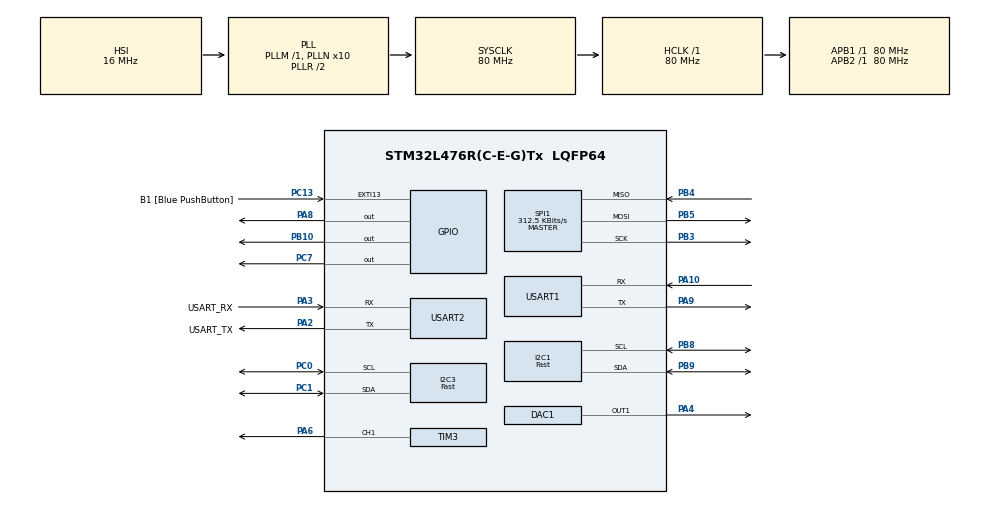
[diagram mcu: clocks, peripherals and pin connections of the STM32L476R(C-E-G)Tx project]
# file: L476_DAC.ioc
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DAC1.DAC_Channel-DAC_OUT2_Int=DAC_CHANNEL_2
DAC1.DAC_HoldTime-DAC_OUT1=700
DAC1.DAC_RefreshTime-DAC_OUT1=5
DAC1.DAC_SampleAndHold-DAC_OUT1=DAC_SAMPLEANDHOLD_ENABLE
DAC1.DAC_SampleTime-DAC_OUT1=20
DAC1.DAC_Trigger-DAC_OUT1=DAC_TRIGGER_T2_TRGO
Dma.DAC_CH1.0.Direction=DMA_MEMORY_TO_PERIPH
Dma.DAC_CH1.0.Instance=DMA1_Channel3
Dma.DAC_CH1.0.MemDataAlignment=DMA_MDATAALIGN_WORD
Dma.DAC_CH1.0.MemInc=DMA_MINC_ENABLE
Dma.DAC_CH1.0.Mode=DMA_CIRCULAR
Dma.DAC_CH1.0.PeriphDataAlignment=DMA_PDATAALIGN_WORD
Dma.DAC_CH1.0.PeriphInc=DMA_PINC_DISABLE
Dma.DAC_CH1.0.Priority=DMA_PRIORITY_HIGH
Dma.Request0=DAC_CH1
I2C1.I2C_Speed_Mode=I2C_Fast
I2C1.Timing=0x00702991
I2C3.I2C_Speed_Mode=I2C_Fast
I2C3.Timing=0x00702991
Mcu.Family=STM32L4
Mcu.Name=STM32L476R(C-E-G)Tx
Mcu.Package=LQFP64
NVIC.DMA1_Channel3_IRQn=true\:0\:0\:false\:false\:true\:false\:true\:true
NVIC.PriorityGroup=NVIC_PRIORITYGROUP_4
NVIC.TIM2_IRQn=true\:0\:0\:false\:false\:true\:true\:true\:true
NVIC.TIM6_DAC_IRQn=true\:0\:0\:false\:false\:true\:true\:true\:true
NVIC.USART1_IRQn=true\:0\:0\:false\:false\:true\:true\:true\:true
NVIC.USART2_IRQn=true\:0\:0\:false\:false\:true\:true\:true\:true
PA10.Mode=Asynchronous
PA10.Signal=USART1_RX
PA13\ (JTMS-SWDIO).GPIO_Label=TMS
PA13\ (JTMS-SWDIO).Mode=Serial_Wire
PA13\ (JTMS-SWDIO).Signal=SYS_JTMS-SWDIO
PA14\ (JTCK-SWCLK).GPIO_Label=TCK
PA14\ (JTCK-SWCLK).Mode=Serial_Wire
PA14\ (JTCK-SWCLK).Signal=SYS_JTCK-SWCLK
PA2.GPIO_Label=USART_TX
PA2.GPIO_Mode=GPIO_MODE_AF_PP
PA2.GPIO_PuPd=GPIO_NOPULL
PA2.GPIO_Speed=GPIO_SPEED_FREQ_VERY_HIGH
PA2.Mode=Asynchronous
PA2.Signal=USART2_TX
PA3.GPIO_Label=USART_RX
PA3.GPIO_Mode=GPIO_MODE_AF_PP
PA3.GPIO_PuPd=GPIO_NOPULL
PA3.GPIO_Speed=GPIO_SPEED_FREQ_VERY_HIGH
PA3.Mode=Asynchronous
PA3.Signal=USART2_RX
PA4.Signal=COMP_DAC11_group
PA6.Signal=S_TIM3_CH1
PA8.Signal=GPIO_Output
PA9.Mode=Asynchronous
PA9.Signal=USART1_TX
PB10.PinState=GPIO_PIN_SET
PB10.Signal=GPIO_Output
PB14.GPIO_Pu=GPIO_PULLUP
PB14.Signal=I2C2_SDA
PB3\ (JTDO-TRACESWO).Mode=Full_Duplex_Master
PB3\ (JTDO-TRACESWO).Signal=SPI1_SCK
PB4\ (NJTRST).Mode=Full_Duplex_Master
PB4\ (NJTRST).Signal=SPI1_MISO
PB5.Mode=Full_Duplex_Master
PB5.Signal=SPI1_MOSI
PB8.GPIO_Pu=GPIO_PULLUP
PB8.Mode=I2C
PB8.Signal=I2C1_SCL
PB9.GPIO_Pu=GPIO_PULLUP
PB9.Mode=I2C
PB9.Signal=I2C1_SDA
PC0.GPIO_Pu=GPIO_PULLUP
PC0.Mode=I2C
PC0.Signal=I2C3_SCL
PC1.GPIO_Pu=GPIO_PULLUP
PC1.Mode=I2C
PC1.Signal=I2C3_SDA
PC13.GPIO_Label=B1 [Blue PushButton]
PC13.GPIO_ModeDefaultEXTI=GPIO_MODE_IT_FALLING
PC13.GPIO_PuPd=GPIO_NOPULL
PC13.Signal=GPXTI13
PC14-OSC32_IN\ (PC14).Mode=LSE-External-Oscillator
PC14-OSC32_IN\ (PC14).Signal=RCC_OSC32_IN
PC15-OSC32_OUT\ (PC15).Mode=LSE-External-Oscillator
PC15-OSC32_OUT\ (PC15).Signal=RCC_OSC32_OUT
PC7.Signal=GPIO_Output
PH0-OSC_IN\ (PH0).Signal=RCC_OSC_IN
PH1-OSC_OUT\ (PH1).Signal=RCC_OSC_OUT
ProjectManager.HeapSize=0x200
ProjectManager.StackSize=0x400
ProjectManager.TargetToolchain=STM32CubeIDE
RCC.ADCFreq_Value=64000000
RCC.AHBFreq_Value=80000000
RCC.APB1Freq_Value=80000000
RCC.APB1TimFreq_Value=80000000
RCC.APB2Freq_Value=80000000
RCC.APB2TimFreq_Value=80000000
RCC.CortexFreq_Value=80000000
RCC.HCLKFreq_Value=80000000
RCC.HSE_VALUE=8000000
RCC.HSI_VALUE=16000000
RCC.MSI_VALUE=4000000
RCC.PLLN=10
RCC.PLLSourceVirtual=RCC_PLLSOURCE_HSI
RCC.PREFETCH_ENABLE=1
RCC.SYSCLKFreq_VALUE=80000000
RCC.SYSCLKSource=RCC_SYSCLKSOURCE_PLLCLK
RCC.USBFreq_Value=64000000
RCC.VCOOutputFreq_Value=160000000
SH.COMP_DAC11_group.0=DAC1_OUT1,DAC_OUT1
SH.S_TIM3_CH1.0=TIM3_CH1,PWM Generation1 CH1
SPI1.BaudRatePrescaler=SPI_BAUDRATEPRESCALER_256
SPI1.CalculateBaudRate=312.5 KBits/s
SPI1.DataSize=SPI_DATASIZE_8BIT
SPI1.Direction=SPI_DIRECTION_2LINES
SPI1.Mode=SPI_MODE_MASTER
SPI1.VirtualType=VM_MASTER
TIM2.AutoReloadPreload=TIM_AUTORELOAD_PRELOAD_ENABLE
TIM2.Period=320
TIM2.Prescaler=0
TIM2.TIM_MasterOutputTrigger=TIM_TRGO_UPDATE
TIM3.AutoReloadPreload=TIM_AUTORELOAD_PRELOAD_ENABLE
TIM3.Channel-PWM\ Generation1\ CH1=TIM_CHANNEL_1
TIM3.Period=1000
TIM6.AutoReloadPreload=TIM_AUTORELOAD_PRELOAD_ENABLE
TIM6.Period=100
TIM6.Prescaler=799
USART1.VirtualMode-Asynchronous=VM_ASYNC
USART2.VirtualMode-Asynchronous=VM_ASYNC
VP_TIM2_VS_ClockSourceINT.Mode=Internal
VP_TIM3_VS_ClockSourceINT.Mode=Internal
VP_TIM6_VS_ClockSourceINT.Mode=Enable_Timer
board=NUCLEO-L476RG

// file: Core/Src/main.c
/* USER CODE BEGIN Header */
/**
  ******************************************************************************
  * @file           : main.c
  * @brief          : Main program body
  ******************************************************************************
  * @attention
  *
  * Copyright (c) 2023 STMicroelectronics.
  * All rights reserved.
  *
  * This software is licensed under terms that can be found in the LICENSE file
  * in the root directory of this software component.
  * If no LICENSE file comes with this software, it is provided AS-IS.
  *
  ******************************************************************************
  */
/* USER CODE END Header */
#include "main.h"

/* USER CODE BEGIN Includes */
#include <math.h>
#include <stdio.h>
#include <stdbool.h>
#include "wavegen.h"
/* USER CODE END Includes */

/* USER CODE BEGIN PD */

//Number of sample points in waveforms
#define NS 64
#define voltageconstant 1.225
#define STIMCHANNELORDERSIZE 30

/* USER CODE END PD */

DAC_HandleTypeDef hdac1;
DMA_HandleTypeDef hdma_dac_ch1;

I2C_HandleTypeDef hi2c1;
I2C_HandleTypeDef hi2c3;

SPI_HandleTypeDef hspi1;

TIM_HandleTypeDef htim2;
TIM_HandleTypeDef htim3;
TIM_HandleTypeDef htim6;

UART_HandleTypeDef huart1;
UART_HandleTypeDef huart2;

/* USER CODE BEGIN PV */

int pow_10[10] = {
        1, 10, 100, 1000, 10000, 100000, 1000000, 10000000, 100000000, 1000000000
    }; //powers of ten

enum WaveState {upBump = 0, shortFlat = 1, downBump = 2, longFlat = 3};
enum WaveState currentWaveState = longFlat;

const double dev = 10.0; //deviation of bell curves

// A wave duration default value: 250 us
// (1/80e6) * 64 * 312.5 = 0.00025s = 250 us
// (1/(CLK) * NS * ARR = duration) -> ARR = duration * CLK/NS
// where CLK = 80e6, NS = 64
// going below ARR = 64 may cause problems, however it is possible

//these are set into TIM2 during the DMA interrupt calls (see stm32l4xx_it.c)
uint16_t A_ARR = 312;
uint16_t B_ARR = 312;
uint16_t C_ARR = 312;
uint16_t D_ARR = 3125;

uint32_t intensityValues[8][NS]; //stores the 4 levels of intensity bell curves (8 = 4 * 2 because we store the negative parts as well)
uint16_t voltageLevels[4] = {375, 750, 1125, 1500}; //this is for generating the 4 levels of intensities
uint8_t channelLevels[16]; //for every individual channel the 4 levels of intensity can be set during runtime
uint8_t useIndividualIntensities = 1; //if this is 0, all channels have the same intensity by default
uint8_t currentIntensity = 3; //the default intensity level is 3 (voltageLevels[3] = 1500)

uint32_t Line_LUT[NS] = {1910, 1910, 1910, 1910, 1910, 1910, 1910, 1910, 1910, 1910, 1910, 1910, 1910, 1910, 1910,
		1910, 1910, 1910, 1910, 1910, 1910, 1910, 1910, 1910, 1910, 1910, 1910, 1910, 1910, 1910,
		1910, 1910, 1910, 1910, 1910, 1910, 1910, 1910, 1910, 1910, 1910, 1910, 1910, 1910, 1910,
		1910, 1910, 1910, 1910, 1910, 1910, 1910, 1910, 1910, 1910, 1910, 1910, 1910, 1910, 1910,
		1910, 1910, 1910, 1910};

//this is used for offsetting, not using this at the moment
uint32_t Line_LUT_tmp[NS] = {1910, 1910, 1910, 1910, 1910, 1910, 1910, 1910, 1910, 1910, 1910, 1910, 1910, 1910, 1910,
		1910, 1910, 1910, 1910, 1910, 1910, 1910, 1910, 1910, 1910, 1910, 1910, 1910, 1910, 1910,
		1910, 1910, 1910, 1910, 1910, 1910, 1910, 1910, 1910, 1910, 1910, 1910, 1910, 1910, 1910,
		1910, 1910, 1910, 1910, 1910, 1910, 1910, 1910, 1910, 1910, 1910, 1910, 1910, 1910, 1910,
		1910, 1910, 1910, 1910};

//UART data buffer
uint8_t Rx_data[7];

//number of waves in a burst
uint16_t maxWaveNumber = 10;
//this gets toggled by sending "ENTER" through USB
uint8_t toggleBurst = 0;
uint16_t enableBurst;

uint16_t amplitude = voltageconstant * 1500;
uint16_t offset = voltageconstant * 1550;
bool startParseInput = false;
bool enableSPITransmit = false;
bool setVoltage = false;
bool setOffset = false;

uint8_t stimMode = 0;
uint16_t channelSwitchTime = 4999;

uint16_t stimChannelOrder[STIMCHANNELORDERSIZE];
uint8_t stimChannelOrderIntensity[STIMCHANNELORDERSIZE];
uint8_t validStimChannelOrderValues = 0;
uint8_t stimChannelBurstNumber[STIMCHANNELORDERSIZE] = {0};
uint8_t stimChannelIndex = 0;
//this is in units of timeBetweenBursts * D_ARR * CLK / NS [us]
uint16_t timeBetweenBursts = 50;

uint8_t SPIdata[2] = {0b00000000, 0b00000000};

uint8_t I2Cdata[1] = {0b00000110};
uint8_t I2CdataTMP[1] = {0b00000110};
float baseIntensity = 1.0f;

uint8_t enableI2Ctransmit = 0;

/* USER CODE END PV */

void SystemClock_Config(void);
static void MX_GPIO_Init(void);
static void MX_DMA_Init(void);
static void MX_USART2_UART_Init(void);
static void MX_DAC1_Init(void);
static void MX_TIM2_Init(void);
static void MX_USART1_UART_Init(void);
static void MX_TIM3_Init(void);
static void MX_SPI1_Init(void);
static void MX_TIM6_Init(void);
static void MX_I2C3_Init(void);
static void MX_I2C1_Init(void);
/* USER CODE BEGIN PFP */

#ifdef __GNUC__
#define PUTCHAR_PROTOTYPE int __io_putchar(int ch)
#else
#define PUTCHAR_PROTOTYPE int fputc(int ch, FILE *f)
#endif

PUTCHAR_PROTOTYPE
{
  HAL_UART_Transmit(&huart2, (uint8_t *)&ch, 1, HAL_MAX_DELAY);
  return ch;
}

//void XferCpltCallback(DMA_HandleTypeDef *hdma)
//{
//	tick++;
//}

/* USER CODE END PFP */

int main(void)
{
  /* USER CODE BEGIN 1 */

	for (int i = 0; i < 4; i++)
	{
		fillWithBell(intensityValues[2*i], NS, NS / 2, dev, voltageconstant * voltageLevels[i], 1910);
		fillWithBell(intensityValues[2*i + 1], NS, NS / 2, dev, -voltageconstant * voltageLevels[i], 1910);
	}
  /* USER CODE END 1 */

  /* MCU Configuration--------------------------------------------------------*/

  /* Reset of all peripherals, Initializes the Flash interface and the Systick. */
  HAL_Init();

  /* Configure the system clock */
  SystemClock_Config();

  /* Initialize all configured peripherals */
  MX_GPIO_Init();
  MX_DMA_Init();
  MX_USART2_UART_Init();
  MX_DAC1_Init();
  MX_TIM2_Init();
  MX_USART1_UART_Init();
  MX_TIM3_Init();
  MX_SPI1_Init();
  MX_TIM6_Init();
  MX_I2C3_Init();
  MX_I2C1_Init();
  /* USER CODE BEGIN 2 */
  printf("HELLO \r\n");
  printf("WORLD \r\n");

  //this is for debug purposes
  HAL_GPIO_TogglePin(GPIOC, GPIO_PIN_0);

  HAL_UART_Receive_IT(&huart2, Rx_data, 7);
  HAL_DAC_Start_DMA(&hdac1, DAC_CHANNEL_1, (uint32_t *) Line_LUT, NS, DAC_ALIGN_12B_R);
  HAL_TIM_Base_Start_IT(&htim2);
  HAL_TIM_Base_Start_IT(&htim6);
  HAL_TIM_PWM_Start(&htim3, TIM_CHANNEL_1);

  //default PWM duty cycle: 30%
  TIM3->CCR1 = 300;

  //disable the half transfer complete interrupt for the DMA
  __HAL_DMA_DISABLE_IT(&hdma_dac_ch1, DMA_IT_HT);

  //uint8_t testData[2] = {255, 255};

  HAL_I2C_Master_Transmit(&hi2c3, 0b0000000001011110, 0b00000000, 1, 100);
  HAL_I2C_Master_Transmit(&hi2c1, 0b0000000001011110, 0b00000000, 1, 100);
  /* USER CODE END 2 */

  /* Infinite loop */
  /* USER CODE BEGIN WHILE */
  while (1)
  {
	 if (enableSPITransmit)
	 {

		 HAL_SPI_Transmit(&hspi1, SPIdata, 2, 1000);
		 HAL_GPIO_WritePin(GPIOB, GPIO_PIN_10, GPIO_PIN_RESET);
		 enableSPITransmit = false;
		 for (int i = 0; i < 20; i++)
		 {
			 i--;
			 i++;
		 }
		 HAL_GPIO_WritePin(GPIOB, GPIO_PIN_10, GPIO_PIN_SET);
		 HAL_SPI_Transmit(&hspi1, SPIdata, 2, 1000);
	 }

	 if (enableI2Ctransmit == 1)
	 {

		 enableI2Ctransmit = 0;
		 if (I2Cdata[0] > 127)
		 {
			 I2Cdata[0] = 127;
			 I2CdataTMP[0] = 127;
		 }
		 if (I2Cdata[0] < 6)
		 {
			 I2Cdata[0] = 6;
			 I2CdataTMP[0] = 6;
		 }
		 HAL_StatusTypeDef i2c3Status = HAL_I2C_Master_Transmit(&hi2c3, 0b0000000001011110, I2Cdata, 1, 100);
		 HAL_StatusTypeDef i2c1Status = HAL_I2C_Master_Transmit(&hi2c1, 0b0000000001011110, I2CdataTMP, 1, 100);
		 if (i2c3Status != HAL_OK)
		 {
			  MX_I2C3_Init();
		 }
		 if (i2c1Status != HAL_OK)
		 {
			 MX_I2C1_Init();
		 }
	 }

	 if (startParseInput)
	 {
		 parseUserInput();
	 }

	 if (setVoltage)
	 {
		 setVoltage = false;
//		 if (setOffset)
//		 {
//			 setOffset = false;
//			 for (int i = 0; i < NS; i++)
//			 {
//				 Line_LUT[i] = offset;
//			 }
//		 }
	 }

    /* USER CODE END WHILE */

  }
}

void SystemClock_Config(void)
{
  RCC_OscInitTypeDef RCC_OscInitStruct = {0};
  RCC_ClkInitTypeDef RCC_ClkInitStruct = {0};

  /** Configure the main internal regulator output voltage
  */
  if (HAL_PWREx_ControlVoltageScaling(PWR_REGULATOR_VOLTAGE_SCALE1) != HAL_OK)
  {
    Error_Handler();
  }

  /** Initializes the RCC Oscillators according to the specified parameters
  * in the RCC_OscInitTypeDef structure.
  */
  RCC_OscInitStruct.OscillatorType = RCC_OSCILLATORTYPE_HSI|RCC_OSCILLATORTYPE_LSI;
  RCC_OscInitStruct.HSIState = RCC_HSI_ON;
  RCC_OscInitStruct.HSICalibrationValue = RCC_HSICALIBRATION_DEFAULT;
  RCC_OscInitStruct.LSIState = RCC_LSI_ON;
  RCC_OscInitStruct.PLL.PLLState = RCC_PLL_ON;
  RCC_OscInitStruct.PLL.PLLSource = RCC_PLLSOURCE_HSI;
  RCC_OscInitStruct.PLL.PLLM = 1;
  RCC_OscInitStruct.PLL.PLLN = 10;
  RCC_OscInitStruct.PLL.PLLP = RCC_PLLP_DIV7;
  RCC_OscInitStruct.PLL.PLLQ = RCC_PLLQ_DIV2;
  RCC_OscInitStruct.PLL.PLLR = RCC_PLLR_DIV2;
  if (HAL_RCC_OscConfig(&RCC_OscInitStruct) != HAL_OK)
  {
    Error_Handler();
  }

  /** Initializes the CPU, AHB and APB buses clocks
  */
  RCC_ClkInitStruct.ClockType = RCC_CLOCKTYPE_HCLK|RCC_CLOCKTYPE_SYSCLK
                              |RCC_CLOCKTYPE_PCLK1|RCC_CLOCKTYPE_PCLK2;
  RCC_ClkInitStruct.SYSCLKSource = RCC_SYSCLKSOURCE_PLLCLK;
  RCC_ClkInitStruct.AHBCLKDivider = RCC_SYSCLK_DIV1;
  RCC_ClkInitStruct.APB1CLKDivider = RCC_HCLK_DIV1;
  RCC_ClkInitStruct.APB2CLKDivider = RCC_HCLK_DIV1;

  if (HAL_RCC_ClockConfig(&RCC_ClkInitStruct, FLASH_LATENCY_4) != HAL_OK)
  {
    Error_Handler();
  }
}

static void MX_DAC1_Init(void)
{

  DAC_ChannelConfTypeDef sConfig = {0};

  /** DAC Initialization
  */
  hdac1.Instance = DAC1;
  if (HAL_DAC_Init(&hdac1) != HAL_OK)
  {
    Error_Handler();
  }

  /** DAC channel OUT1 config
  */
  sConfig.DAC_SampleAndHold = DAC_SAMPLEANDHOLD_ENABLE;
  sConfig.DAC_Trigger = DAC_TRIGGER_T2_TRGO;
  sConfig.DAC_OutputBuffer = DAC_OUTPUTBUFFER_ENABLE;
  sConfig.DAC_ConnectOnChipPeripheral = DAC_CHIPCONNECT_DISABLE;
  sConfig.DAC_UserTrimming = DAC_TRIMMING_FACTORY;
  sConfig.DAC_SampleAndHoldConfig.DAC_SampleTime = 20;
  sConfig.DAC_SampleAndHoldConfig.DAC_HoldTime = 700;
  sConfig.DAC_SampleAndHoldConfig.DAC_RefreshTime = 5;
  if (HAL_DAC_ConfigChannel(&hdac1, &sConfig, DAC_CHANNEL_1) != HAL_OK)
  {
    Error_Handler();
  }

}

static void MX_I2C1_Init(void)
{

  hi2c1.Instance = I2C1;
  hi2c1.Init.Timing = 0x00702991;
  hi2c1.Init.OwnAddress1 = 0;
  hi2c1.Init.AddressingMode = I2C_ADDRESSINGMODE_7BIT;
  hi2c1.Init.DualAddressMode = I2C_DUALADDRESS_DISABLE;
  hi2c1.Init.OwnAddress2 = 0;
  hi2c1.Init.OwnAddress2Masks = I2C_OA2_NOMASK;
  hi2c1.Init.GeneralCallMode = I2C_GENERALCALL_DISABLE;
  hi2c1.Init.NoStretchMode = I2C_NOSTRETCH_DISABLE;
  if (HAL_I2C_Init(&hi2c1) != HAL_OK)
  {
    Error_Handler();
  }

  /** Configure Analogue filter
  */
  if (HAL_I2CEx_ConfigAnalogFilter(&hi2c1, I2C_ANALOGFILTER_ENABLE) != HAL_OK)
  {
    Error_Handler();
  }

  /** Configure Digital filter
  */
  if (HAL_I2CEx_ConfigDigitalFilter(&hi2c1, 0) != HAL_OK)
  {
    Error_Handler();
  }

}

static void MX_I2C3_Init(void)
{

  hi2c3.Instance = I2C3;
  hi2c3.Init.Timing = 0x00702991;
  hi2c3.Init.OwnAddress1 = 0;
  hi2c3.Init.AddressingMode = I2C_ADDRESSINGMODE_7BIT;
  hi2c3.Init.DualAddressMode = I2C_DUALADDRESS_DISABLE;
  hi2c3.Init.OwnAddress2 = 0;
  hi2c3.Init.OwnAddress2Masks = I2C_OA2_NOMASK;
  hi2c3.Init.GeneralCallMode = I2C_GENERALCALL_DISABLE;
  hi2c3.Init.NoStretchMode = I2C_NOSTRETCH_DISABLE;
  if (HAL_I2C_Init(&hi2c3) != HAL_OK)
  {
    Error_Handler();
  }

  /** Configure Analogue filter
  */
  if (HAL_I2CEx_ConfigAnalogFilter(&hi2c3, I2C_ANALOGFILTER_ENABLE) != HAL_OK)
  {
    Error_Handler();
  }

  /** Configure Digital filter
  */
  if (HAL_I2CEx_ConfigDigitalFilter(&hi2c3, 0) != HAL_OK)
  {
    Error_Handler();
  }

}

static void MX_SPI1_Init(void)
{

  /* SPI1 parameter configuration*/
  hspi1.Instance = SPI1;
  hspi1.Init.Mode = SPI_MODE_MASTER;
  hspi1.Init.Direction = SPI_DIRECTION_2LINES;
  hspi1.Init.DataSize = SPI_DATASIZE_8BIT;
  hspi1.Init.CLKPolarity = SPI_POLARITY_LOW;
  hspi1.Init.CLKPhase = SPI_PHASE_1EDGE;
  hspi1.Init.NSS = SPI_NSS_SOFT;
  hspi1.Init.BaudRatePrescaler = SPI_BAUDRATEPRESCALER_256;
  hspi1.Init.FirstBit = SPI_FIRSTBIT_MSB;
  hspi1.Init.TIMode = SPI_TIMODE_DISABLE;
  hspi1.Init.CRCCalculation = SPI_CRCCALCULATION_DISABLE;
  hspi1.Init.CRCPolynomial = 7;
  hspi1.Init.CRCLength = SPI_CRC_LENGTH_DATASIZE;
  hspi1.Init.NSSPMode = SPI_NSS_PULSE_ENABLE;
  if (HAL_SPI_Init(&hspi1) != HAL_OK)
  {
    Error_Handler();
  }

}

static void MX_TIM2_Init(void)
{

  TIM_ClockConfigTypeDef sClockSourceConfig = {0};
  TIM_MasterConfigTypeDef sMasterConfig = {0};

  htim2.Instance = TIM2;
  htim2.Init.Prescaler = 0;
  htim2.Init.CounterMode = TIM_COUNTERMODE_UP;
  htim2.Init.Period = 320;
  htim2.Init.ClockDivision = TIM_CLOCKDIVISION_DIV1;
  htim2.Init.AutoReloadPreload = TIM_AUTORELOAD_PRELOAD_ENABLE;
  if (HAL_TIM_Base_Init(&htim2) != HAL_OK)
  {
    Error_Handler();
  }
  sClockSourceConfig.ClockSource = TIM_CLOCKSOURCE_INTERNAL;
  if (HAL_TIM_ConfigClockSource(&htim2, &sClockSourceConfig) != HAL_OK)
  {
    Error_Handler();
  }
  sMasterConfig.MasterOutputTrigger = TIM_TRGO_UPDATE;
  sMasterConfig.MasterSlaveMode = TIM_MASTERSLAVEMODE_DISABLE;
  if (HAL_TIMEx_MasterConfigSynchronization(&htim2, &sMasterConfig) != HAL_OK)
  {
    Error_Handler();
  }

}

static void MX_TIM3_Init(void)
{

  TIM_ClockConfigTypeDef sClockSourceConfig = {0};
  TIM_MasterConfigTypeDef sMasterConfig = {0};
  TIM_OC_InitTypeDef sConfigOC = {0};

  htim3.Instance = TIM3;
  htim3.Init.Prescaler = 0;
  htim3.Init.CounterMode = TIM_COUNTERMODE_UP;
  htim3.Init.Period = 1000;
  htim3.Init.ClockDivision = TIM_CLOCKDIVISION_DIV1;
  htim3.Init.AutoReloadPreload = TIM_AUTORELOAD_PRELOAD_ENABLE;
  if (HAL_TIM_Base_Init(&htim3) != HAL_OK)
  {
    Error_Handler();
  }
  sClockSourceConfig.ClockSource = TIM_CLOCKSOURCE_INTERNAL;
  if (HAL_TIM_ConfigClockSource(&htim3, &sClockSourceConfig) != HAL_OK)
  {
    Error_Handler();
  }
  if (HAL_TIM_PWM_Init(&htim3) != HAL_OK)
  {
    Error_Handler();
  }
  sMasterConfig.MasterOutputTrigger = TIM_TRGO_RESET;
  sMasterConfig.MasterSlaveMode = TIM_MASTERSLAVEMODE_DISABLE;
  if (HAL_TIMEx_MasterConfigSynchronization(&htim3, &sMasterConfig) != HAL_OK)
  {
    Error_Handler();
  }
  sConfigOC.OCMode = TIM_OCMODE_PWM1;
  sConfigOC.Pulse = 0;
  sConfigOC.OCPolarity = TIM_OCPOLARITY_HIGH;
  sConfigOC.OCFastMode = TIM_OCFAST_DISABLE;
  if (HAL_TIM_PWM_ConfigChannel(&htim3, &sConfigOC, TIM_CHANNEL_1) != HAL_OK)
  {
    Error_Handler();
  }
  HAL_TIM_MspPostInit(&htim3);

}

static void MX_TIM6_Init(void)
{

  TIM_MasterConfigTypeDef sMasterConfig = {0};

  htim6.Instance = TIM6;
  htim6.Init.Prescaler = 799;
  htim6.Init.CounterMode = TIM_COUNTERMODE_UP;
  htim6.Init.Period = 100;
  htim6.Init.AutoReloadPreload = TIM_AUTORELOAD_PRELOAD_ENABLE;
  if (HAL_TIM_Base_Init(&htim6) != HAL_OK)
  {
    Error_Handler();
  }
  sMasterConfig.MasterOutputTrigger = TIM_TRGO_RESET;
  sMasterConfig.MasterSlaveMode = TIM_MASTERSLAVEMODE_DISABLE;
  if (HAL_TIMEx_MasterConfigSynchronization(&htim6, &sMasterConfig) != HAL_OK)
  {
    Error_Handler();
  }

}

static void MX_USART1_UART_Init(void)
{

  huart1.Instance = USART1;
  huart1.Init.BaudRate = 115200;
  huart1.Init.WordLength = UART_WORDLENGTH_8B;
  huart1.Init.StopBits = UART_STOPBITS_1;
  huart1.Init.Parity = UART_PARITY_NONE;
  huart1.Init.Mode = UART_MODE_TX_RX;
  huart1.Init.HwFlowCtl = UART_HWCONTROL_NONE;
  huart1.Init.OverSampling = UART_OVERSAMPLING_16;
  huart1.Init.OneBitSampling = UART_ONE_BIT_SAMPLE_DISABLE;
  huart1.AdvancedInit.AdvFeatureInit = UART_ADVFEATURE_NO_INIT;
  if (HAL_UART_Init(&huart1) != HAL_OK)
  {
    Error_Handler();
  }

}

static void MX_USART2_UART_Init(void)
{

  huart2.Instance = USART2;
  huart2.Init.BaudRate = 115200;
  huart2.Init.WordLength = UART_WORDLENGTH_8B;
  huart2.Init.StopBits = UART_STOPBITS_1;
  huart2.Init.Parity = UART_PARITY_NONE;
  huart2.Init.Mode = UART_MODE_TX_RX;
  huart2.Init.HwFlowCtl = UART_HWCONTROL_NONE;
  huart2.Init.OverSampling = UART_OVERSAMPLING_16;
  huart2.Init.OneBitSampling = UART_ONE_BIT_SAMPLE_DISABLE;
  huart2.AdvancedInit.AdvFeatureInit = UART_ADVFEATURE_NO_INIT;
  if (HAL_UART_Init(&huart2) != HAL_OK)
  {
    Error_Handler();
  }

}

static void MX_DMA_Init(void)
{

  /* DMA controller clock enable */
  __HAL_RCC_DMA1_CLK_ENABLE();

  /* DMA interrupt init */
  /* DMA1_Channel3_IRQn interrupt configuration */
  HAL_NVIC_SetPriority(DMA1_Channel3_IRQn, 0, 0);
  HAL_NVIC_EnableIRQ(DMA1_Channel3_IRQn);

}

static void MX_GPIO_Init(void)
{
  GPIO_InitTypeDef GPIO_InitStruct = {0};

  /* GPIO Ports Clock Enable */
  __HAL_RCC_GPIOC_CLK_ENABLE();
  __HAL_RCC_GPIOH_CLK_ENABLE();
  __HAL_RCC_GPIOA_CLK_ENABLE();
  __HAL_RCC_GPIOB_CLK_ENABLE();

  /*Configure GPIO pin Output Level */
  HAL_GPIO_WritePin(GPIOB, GPIO_PIN_10, GPIO_PIN_SET);

  /*Configure GPIO pin Output Level */
  HAL_GPIO_WritePin(GPIOC, GPIO_PIN_7, GPIO_PIN_RESET);

  /*Configure GPIO pin Output Level */
  HAL_GPIO_WritePin(GPIOA, GPIO_PIN_8, GPIO_PIN_RESET);

  /*Configure GPIO pin : B1_Pin */
  GPIO_InitStruct.Pin = B1_Pin;
  GPIO_InitStruct.Mode = GPIO_MODE_IT_FALLING;
  GPIO_InitStruct.Pull = GPIO_NOPULL;
  HAL_GPIO_Init(B1_GPIO_Port, &GPIO_InitStruct);

  /*Configure GPIO pin : PB10 */
  GPIO_InitStruct.Pin = GPIO_PIN_10;
  GPIO_InitStruct.Mode = GPIO_MODE_OUTPUT_PP;
  GPIO_InitStruct.Pull = GPIO_NOPULL;
  GPIO_InitStruct.Speed = GPIO_SPEED_FREQ_LOW;
  HAL_GPIO_Init(GPIOB, &GPIO_InitStruct);

  /*Configure GPIO pin : PB14 */
  GPIO_InitStruct.Pin = GPIO_PIN_14;
  GPIO_InitStruct.Mode = GPIO_MODE_AF_OD;
  GPIO_InitStruct.Pull = GPIO_PULLUP;
  GPIO_InitStruct.Speed = GPIO_SPEED_FREQ_VERY_HIGH;
  GPIO_InitStruct.Alternate = GPIO_AF4_I2C2;
  HAL_GPIO_Init(GPIOB, &GPIO_InitStruct);

  /*Configure GPIO pin : PC7 */
  GPIO_InitStruct.Pin = GPIO_PIN_7;
  GPIO_InitStruct.Mode = GPIO_MODE_OUTPUT_PP;
  GPIO_InitStruct.Pull = GPIO_NOPULL;
  GPIO_InitStruct.Speed = GPIO_SPEED_FREQ_LOW;
  HAL_GPIO_Init(GPIOC, &GPIO_InitStruct);

  /*Configure GPIO pin : PA8 */
  GPIO_InitStruct.Pin = GPIO_PIN_8;
  GPIO_InitStruct.Mode = GPIO_MODE_OUTPUT_PP;
  GPIO_InitStruct.Pull = GPIO_NOPULL;
  GPIO_InitStruct.Speed = GPIO_SPEED_FREQ_LOW;
  HAL_GPIO_Init(GPIOA, &GPIO_InitStruct);

}

/* USER CODE BEGIN 4 */

// check if "ENTER" is the string inside Rx_data
bool startBurst()
{
	return (Rx_data[0] == 'E' && Rx_data[1] == 'N' && Rx_data[2] == 'T' && Rx_data[3] == 'E' && Rx_data[4] == 'R');
}

void parseUserInput()
{
	uint16_t tmpValue = 0;

	tmpValue = (Rx_data[1] - 48) * 100 + (Rx_data[2] - 48) * 10 + (Rx_data[3] - 48);
	tmpValue *= pow_10[Rx_data[4]-48];

	//1.25 = 80.0/64.0 (Main CLK / number of data points in bell curve arrays)
	switch (Rx_data[0])
	{
		case 'A':
			A_ARR = 1.25 * tmpValue;
			break;
		case 'B':
			B_ARR = 1.25 * tmpValue;
			break;
		case 'C':
			C_ARR = 1.25 * tmpValue;
			break;
		case 'D':
			D_ARR = 1.25 * tmpValue;
			break;
		case 'N':
			maxWaveNumber = tmpValue;
			break;
		case 'm':
			timeBetweenBursts = tmpValue;
			break;
		case 'P': //PWM duty cycle
			TIM3->CCR1 = tmpValue*10;
			break;
		case 'S': //spi transmit data (for analog switch)
			if (tmpValue == 17)
			{
				break;
			}
			if (tmpValue > 7)
			{
				SPIdata[0] = 1<<(tmpValue-8);
				SPIdata[1] = 0;
			} else
			{
				SPIdata[0] = 0;
				SPIdata[1] = 1<<tmpValue;
			}
			enableSPITransmit = true;
			break;
		case 'V':
			if (Rx_data[1] == '0')
			{
				useIndividualIntensities = 1;
				setVoltage = true;
				uint8_t channelIndex = (Rx_data[5] - '0') * 10 + Rx_data[6] - '0';
				channelLevels[channelIndex] = (Rx_data[2] - '0') * 100 + (Rx_data[3] - '0') * 10 + Rx_data[4] - '0';

			}
			//else
//			{
//				useIndividualIntensities = 0;
//				currentIntensity = (Rx_data[2] - '0') * 10 + Rx_data[3] - '0';
//				for (int i = 0; i < 16; i++)
//				{
//					channelLevels[i] = currentIntensity;
//				}
//				I2Cdata[0] = (Rx_data[2] - '0') * 100 + (Rx_data[3] - '0') * 10 + Rx_data[4] - '0';
//			}

			break;
		case 'O':
			offset = voltageconstant * tmpValue;
			if (offset > 4095)
			{
				offset = 4095;
			}
			if (offset < 0)
			{
				offset = 0;
			}
			setOffset = true;
			setVoltage = true;
			break;
		case 'M': //mode
			stimMode = tmpValue;
			break;
		case 's':

			;
            uint8_t channelOrderIndex = Rx_data[1];

			uint8_t channelOrderIntensity = Rx_data[2];

			uint16_t stimChannelIndexToSet = (Rx_data[3] << 8) +  Rx_data[4];

			uint8_t stimChannelNumberOfBurstsToSet = (Rx_data[5] - '0') * 10 + (Rx_data[6] - '0');

			stimChannelOrder[channelOrderIndex] = stimChannelIndexToSet;

			stimChannelOrderIntensity[channelOrderIndex] = channelOrderIntensity;

			stimChannelBurstNumber[channelOrderIndex] = stimChannelNumberOfBurstsToSet;

			break;
		case 'v':
			validStimChannelOrderValues = tmpValue;
			break;
		case 'R':
			//I2Cdata[0] = tmpValue;
			//enableI2Ctransmit = 1;
			baseIntensity = tmpValue / 127.0f;
			break;

	}
	startParseInput = false;
}

/*
 * gets called whenever data is sent through UART
 */
void HAL_UART_RxCpltCallback(UART_HandleTypeDef *huart)
{
	if (startBurst())
	{
		toggleBurst = 1 - toggleBurst;

		if (toggleBurst == 1)
		{
			enableBurst = maxWaveNumber;
			stimChannelIndex = 0;
		}
		if (toggleBurst == 0)
		{
			htim2.Instance->ARR = D_ARR;
			hdma_dac_ch1.Instance->CMAR = (uint32_t) &Line_LUT;
		}

	} else
	if (!startParseInput)
	{
		startParseInput = true;
	}
	HAL_UART_Receive_IT(&huart2, Rx_data, 7);
}

/*
 * not using this at the moment
 */
void HAL_TIM_PeriodElapsedCallback(TIM_HandleTypeDef* htim)
{
}

/* USER CODE END 4 */

void Error_Handler(void)
{
  __disable_irq();
  while (1)
  {
  }
}
